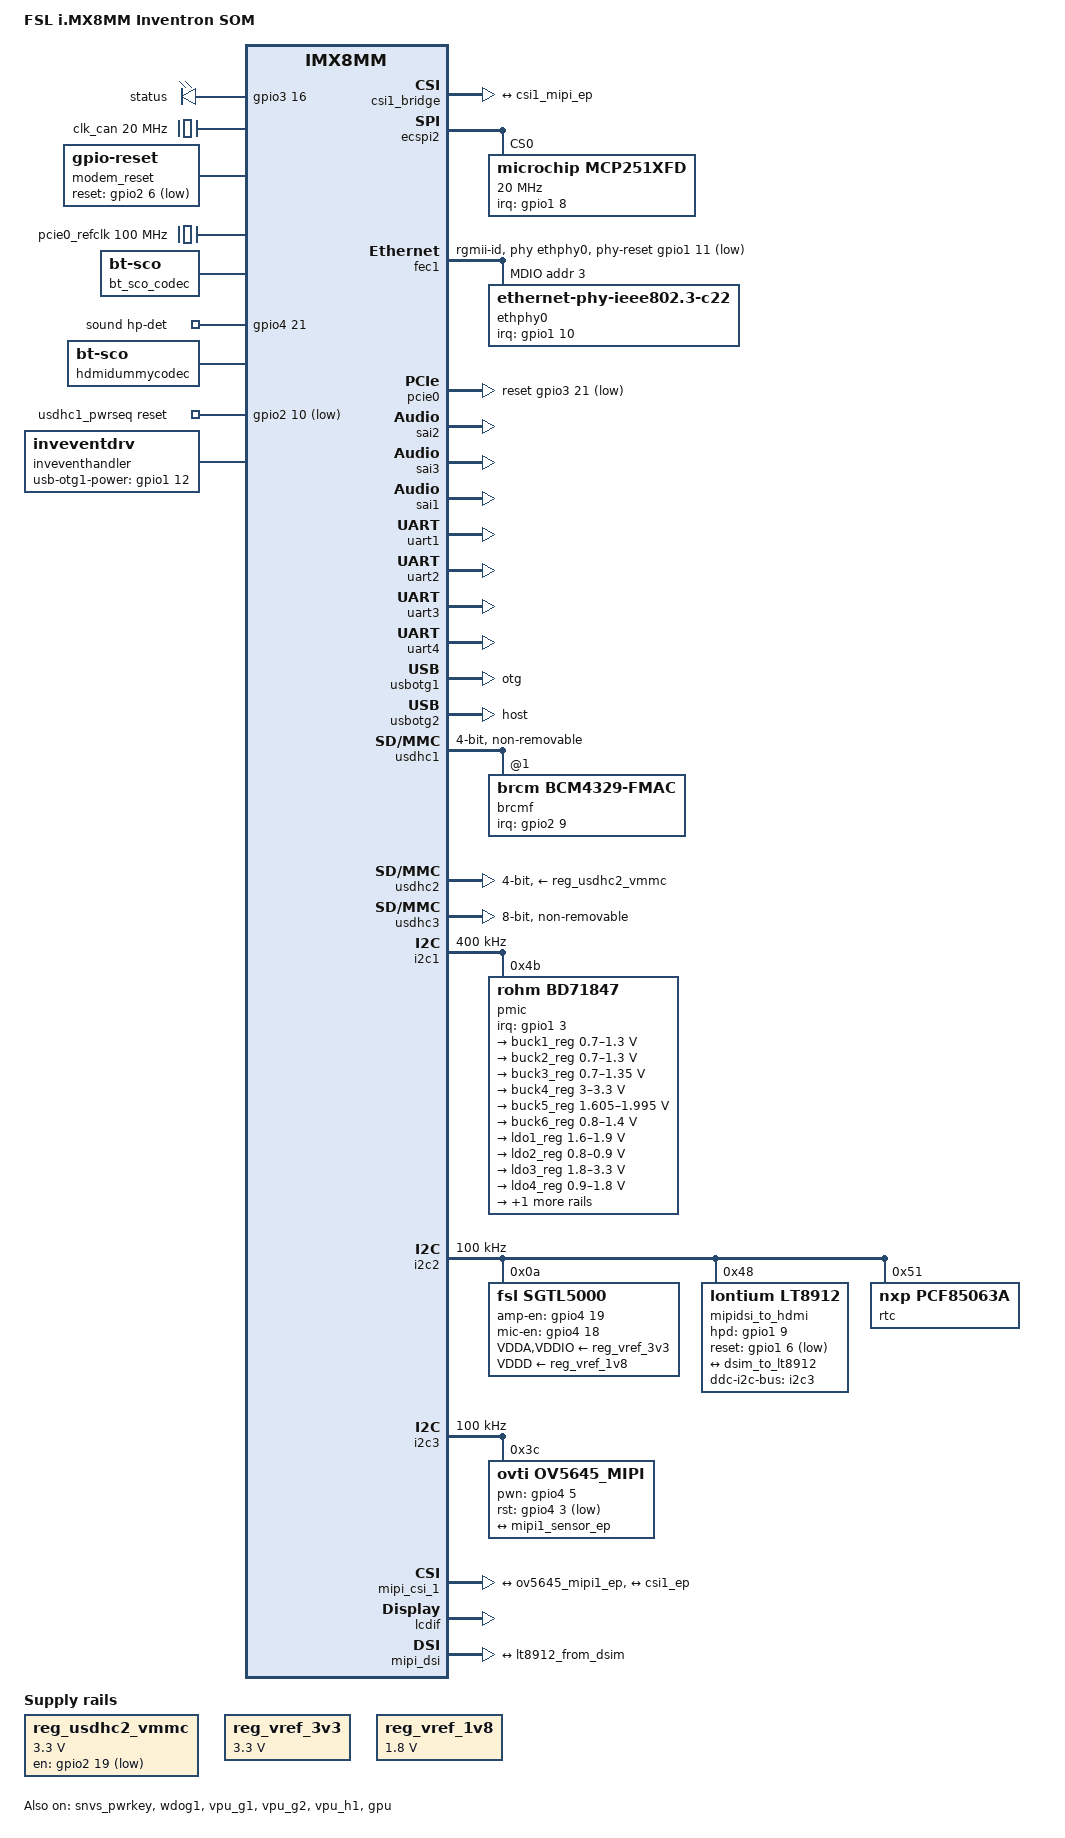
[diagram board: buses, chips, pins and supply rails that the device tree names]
// SPDX-License-Identifier: (GPL-2.0+ OR MIT)
/*
 * Copyright 2019 NXP
 */

/dts-v1/;

#include <dt-bindings/usb/pd.h>
#include "imx8mm-invsom.dtsi"

/ {
	model = "FSL i.MX8MM Inventron SOM";
	compatible = "fsl,imx8mm-invsom", "fsl,imx8mm";

	reserved-memory {
		#address-cells = <2>;
		#size-cells = <2>;
		ranges;

		rpmsg_reserved: rpmsg@0xb8000000 {
			no-map;
			reg = <0 0xb8000000 0 0x400000>;
		};
	};

	chosen {
		stdout-path = &uart4;
	};

	leds {
		compatible = "gpio-leds";
		pinctrl-names = "default";
		//pinctrl-0 = <&pinctrl_gpio_led &pinctrl_ccm2>; // daha sonra kullanılacak
		pinctrl-0 = <&pinctrl_gpio_led>;
		//clocks = <&clk IMX8MM_CLK_CLKO2>; // ccm2
		//clock-names = "enet_mclk";
		//assigned-clocks = <&clk IMX8MM_CLK_CLKO2>;
		//assigned-clock-parents = <&clk IMX8MM_CLK_24M>;
		//assigned-clock-rates = <12000000>;
		status = "okay";
		status {
			label = "status";
			gpios = <&gpio3 16 GPIO_ACTIVE_HIGH>;
			default-state = "on";
			linux,default-trigger = "heartbeat";
		};
	};

	clk_can: oscillator {
		compatible = "fixed-clock";
		#clock-cells = <0>;
		clock-frequency = <20000000>;
	};

	modem_reset: modem-reset { // bt_reg_on
		compatible = "gpio-reset";
		reset-gpios = <&gpio2 6 GPIO_ACTIVE_LOW>;
		reset-delay-us = <2000>;
		reset-post-delay-ms = <40>;
		#reset-cells = <0>;
	};

	pcie0_refclk: pcie0-refclk {
		compatible = "fixed-clock";
		#clock-cells = <0>;
		clock-frequency = <100000000>;
	};

	/*reg_sd1_vmmc: sd1_regulator {
		compatible = "regulator-fixed";
		regulator-name = "WLAN_EN";
		regulator-min-microvolt = <3300000>;
		regulator-max-microvolt = <3300000>;
		gpio = <&gpio2 10 GPIO_ACTIVE_HIGH>;
		off-on-delay-us = <20000>;
		startup-delay-us = <100>;
		enable-active-high;
	};*/

	reg_usdhc2_vmmc: regulator-usdhc2 {
		compatible = "regulator-fixed";
		pinctrl-names = "default";
		pinctrl-0 = <&pinctrl_reg_usdhc2_vmmc>;
		regulator-name = "VSD_3V3";
		regulator-min-microvolt = <3300000>;
		regulator-max-microvolt = <3300000>;
		gpio = <&gpio2 19 GPIO_ACTIVE_LOW>;
		off-on-delay-us = <20000>;
	};

	//reg_ext_3v3: regulator-external {
	//	compatible = "regulator-fixed";
	//	regulator-name = "EXT_ENABLE";
	//	regulator-min-microvolt = <3300000>;
	//	regulator-max-microvolt = <3300000>;
	//	enable-active-high;
	//	startup-delay-us = <3000000>;
	//	gpio = <&gpio4 14 GPIO_ACTIVE_HIGH>;
	//	enable-active-high;
	//};

	reg_vref_3v3: regulator-vref {
	  	compatible = "regulator-fixed";
	  	regulator-name = "vref-3v3";
	  	regulator-min-microvolt = <3300000>;
	  	regulator-max-microvolt = <3300000>;
	  	regulator-always-on;
	 	regulator-boot-on;		  
	};
	
	reg_vref_1v8: regulator-vref-1v8 { /* V1.8 */
		compatible = "regulator-fixed";
		regulator-name = "vref-1v8";
		regulator-min-microvolt = <1800000>;
		regulator-max-microvolt = <1800000>;
		regulator-always-on;
	  	regulator-boot-on;		  
	};

	bt_sco_codec: bt_sco_codec {
		#sound-dai-cells = <0>;
		compatible = "linux,bt-sco";
	};

	sound-bt-sco {
		compatible = "simple-audio-card";
		simple-audio-card,name = "bt-sco-audio";
		simple-audio-card,format = "i2s";
		simple-audio-card,bitclock-inversion;
		simple-audio-card,frame-master = <&btcpu>;
		simple-audio-card,bitclock-master = <&btcpu>;
		status = "okay";

		btcpu: simple-audio-card,cpu {
			sound-dai = <&sai3>;
			dai-tdm-slot-num = <2>;
			dai-tdm-slot-width = <16>;
		};

		simple-audio-card,codec {
			sound-dai = <&bt_sco_codec>;
		};
	};


    	sound {
        	compatible = "simple-audio-card";
        	simple-audio-card,name = "imx8mm-sgtl5000";
        	simple-audio-card,format = "i2s";
        	simple-audio-card,bitclock-master = <&dailink_master>;
        	simple-audio-card,frame-master = <&dailink_master>;
        	//simple-audio-card,mclk-fs = <1>;
        	simple-audio-card,hp-det-gpio = <&gpio4 21 GPIO_ACTIVE_HIGH>;

		simple-audio-card,widgets =
			"Microphone", "Microphone Jack",
			"Headphone", "Headphone Jack",
			"Speaker", "External Speaker";
		simple-audio-card,routing =
			"MIC_IN", "Microphone Jack",
			"Headphone Jack", "HP_OUT",
			"External Speaker", "LINE_OUT";

        	simple-audio-card,cpu {
                	sound-dai = <&sai1>;
        	};

        	dailink_master: simple-audio-card,codec {
            	sound-dai = <&sgtl5000>;
            	clocks = <&clk IMX8MM_CLK_SAI1>;
        	};   
    	};

	sound-i2s {
		compatible = "simple-audio-card";
		simple-audio-card,name = "i2s-hdmi-audio";
		simple-audio-card,format = "i2s";
		simple-audio-card,bitclock-master = <&dailinkhdmi_master>;
		simple-audio-card,frame-master = <&dailinkhdmi_master>;

		simple-audio-card,widgets =
	 		"Headphone", "Headphone Jack";
	 	simple-audio-card,routing =
	 		"Headphone Jack", "TX";

		dailinkhdmi_master: simple-audio-card,cpu {
			sound-dai = <&sai2>;
			dai-tdm-slot-num = <2>;
			dai-tdm-slot-width = <32>;
		};

		simple-audio-card,codec {
			sound-dai = <&hdmidummycodec>;
			clocks = <&clk IMX8MM_CLK_SAI2_ROOT>;
		};
	};

	hdmidummycodec: codec1 {
		#sound-dai-cells = <0>;
		compatible = "linux,bt-sco";
		status = "okay";
	};

	sound-micfil {
		compatible = "fsl,imx-audio-micfil";
		model = "imx-audio-micfil";
		cpu-dai = <&micfil>;
		status = "okay";
	};
	
	usdhc1_pwrseq: usdhc1_pwrseq {
		compatible = "mmc-pwrseq-simple";
		//compatible = "mmc-pwrseq-emmc";
		pinctrl-names = "default";
		pinctrl-0 = <&pinctrl_usdhc1_gpio>;
		reset-gpios = <&gpio2 10 GPIO_ACTIVE_LOW>;
	};
	
	inveventhandler {
		compatible = "inveventdrv";
		status = "okay";
		
		usb-otg1-power-gpio = <&gpio1 12 GPIO_ACTIVE_HIGH>;
	};	
};

&A53_0 {
	cpu-supply = <&buck2_reg>;
};

&csi1_bridge {
	fsl,mipi-mode;
	status = "okay";
	port {
		csi1_ep: endpoint {
			remote-endpoint = <&csi1_mipi_ep>;
		};
	};
};

&ecspi2 {
	pinctrl-names = "default";
	pinctrl-0 = <&pinctrl_ecspi2>;
	status = "okay";

	mcp251xfd: can@0 {
		compatible = "microchip,mcp251xfd";
		clocks = <&clk_can>;
		pinctrl-names = "default";
		pinctrl-0 = <&pinctrl_can_irq>;
		reg = <0>;
            	interrupts-extended = <&gpio1 8 IRQ_TYPE_LEVEL_LOW>;
		spi-max-frequency = <20000000>;
		status = "okay";
	};
};

&fec1 {
	pinctrl-names = "default", "sleep";
	pinctrl-0 = <&pinctrl_fec1>;
	pinctrl-1 = <&pinctrl_fec1_sleep>;
	phy-mode = "rgmii-id";
	phy-handle = <&ethphy0>;
	phy-reset-gpios = <&gpio1 11 GPIO_ACTIVE_LOW>;
	fsl,magic-packet;
	status = "okay";

	mdio {
		#address-cells = <1>;
		#size-cells = <0>;

		ethphy0: ethernet-phy@3 {
			compatible = "ethernet-phy-ieee802.3-c22";
			interrupt-parent = <&gpio1>;
			interrupts = <10 IRQ_TYPE_LEVEL_LOW>;
			micrel,led-mode = <0>;
			reg = <3>;
		};
	};
};

&pcie0{
	pinctrl-names = "default";
	pinctrl-0 = <&pinctrl_pcie0>;
	disable-gpio = <&gpio3 22 GPIO_ACTIVE_LOW>;
	reset-gpio = <&gpio3 21 GPIO_ACTIVE_LOW>;
	clkreq-gpio = <&gpio3 20 GPIO_ACTIVE_LOW>;
	clocks = <&clk IMX8MM_CLK_PCIE1_ROOT>,
		 <&clk IMX8MM_CLK_PCIE1_AUX>,
		 <&clk IMX8MM_CLK_PCIE1_PHY>,
		 <&pcie0_refclk>;
	clock-names = "pcie", "pcie_aux", "pcie_phy", "pcie_bus";
	ext_osc = <1>;
	reserved-region = <&rpmsg_reserved>;
	status = "okay";
};

&pcie0_ep{
	pinctrl-names = "default";
	pinctrl-0 = <&pinctrl_pcie0>;
	clocks = <&clk IMX8MM_CLK_PCIE1_ROOT>,
		 <&clk IMX8MM_CLK_PCIE1_AUX>,
		 <&clk IMX8MM_CLK_PCIE1_PHY>,
		 <&pcie0_refclk>;
	clock-names = "pcie", "pcie_aux", "pcie_phy", "pcie_bus";
	ext_osc = <1>;
	status = "disabled";
};

&pwm1 {
	pinctrl-names = "default";
	pinctrl-0 = <&pinctrl_pwm1>;
	status = "disabled";
};

&pwm2 {
	pinctrl-names = "default";
	pinctrl-0 = <&pinctrl_pwm2>;
	status = "disabled";
};

&pwm3 {
	pinctrl-names = "default";
	pinctrl-0 = <&pinctrl_pwm3>;
	status = "disabled";
};

&pwm4 {
	pinctrl-names = "default";
	pinctrl-0 = <&pinctrl_pwm4>;
	status = "disabled";
};

&sai2 { // HDMI Sound
	#sound-dai-cells = <0>;
	pinctrl-names = "default";
	pinctrl-0 = <&pinctrl_sai2>;
	assigned-clocks = <&clk IMX8MM_CLK_SAI2>;
	assigned-clock-parents = <&clk IMX8MM_AUDIO_PLL1_OUT>;
	assigned-clock-rates = <24576000>;
	status = "okay";
};

&sai3 { // BT Sound
	#sound-dai-cells = <0>;
	pinctrl-names = "default";
	pinctrl-0 = <&pinctrl_sai3>;
	assigned-clocks = <&clk IMX8MM_CLK_SAI3>;
	assigned-clock-parents = <&clk IMX8MM_AUDIO_PLL1_OUT>;
	assigned-clock-rates = <24576000>;
	status = "okay";
};

&sai1 { // SGTL5000
	#sound-dai-cells = <0>;
	pinctrl-names = "default";
	pinctrl-0 = <&pinctrl_sai1>;
	assigned-clocks = <&clk IMX8MM_CLK_SAI1>;
	assigned-clock-parents = <&clk IMX8MM_AUDIO_PLL1_OUT>;
	assigned-clock-rates = <24576000>;
	status = "okay";
};

&snvs_pwrkey {
	status = "okay";
};

&uart1 { /* BT */
	pinctrl-names = "default";
	pinctrl-0 = <&pinctrl_uart1>;
	assigned-clocks = <&clk IMX8MM_CLK_UART1>;
	assigned-clock-parents = <&clk IMX8MM_SYS_PLL1_80M>;
	fsl,uart-has-rtscts;
	resets = <&modem_reset>;
	status = "okay";
};

&uart2 { /* console - RS485 */
	pinctrl-names = "default";
	pinctrl-0 = <&pinctrl_uart2>;
	uart-has-rtscts;
	linux,rs485-enabled-at-boot-time;
	status = "okay";
};

&uart3 {
	pinctrl-names = "default";
	pinctrl-0 = <&pinctrl_uart3>;
	assigned-clocks = <&clk IMX8MM_CLK_UART3>;
	assigned-clock-parents = <&clk IMX8MM_SYS_PLL1_80M>;
	status = "okay";
};

&uart4 { /* console */
	pinctrl-names = "default";
	pinctrl-0 = <&pinctrl_uart4>;
	status = "okay";
};

&usbotg1 {
	dr_mode = "otg";
	hnp-disable;
	srp-disable;
	adp-disable;
	disable-over-current;
	status = "okay";
};

&usbotg2 {
	dr_mode = "host";
	disable-over-current;
	status = "okay";
};

&usdhc1 { 				// wifi/bt
	pinctrl-names = "default", "state_100mhz", "state_200mhz";
	pinctrl-0 = <&pinctrl_usdhc1>, <&pinctrl_wlan>;
	pinctrl-1 = <&pinctrl_usdhc1_100mhz>, <&pinctrl_wlan>;
	pinctrl-2 = <&pinctrl_usdhc1_200mhz>, <&pinctrl_wlan>;
	bus-width = <4>;
	//vmmc-supply = <&reg_sd1_vmmc>;
	no-1-8-v;
	pm-ignore-notify;
	keep-power-in-suspend;
	non-removable;
	//cap-power-off-card;
	/delete-property/ vmmc-supply;
	mmc-pwrseq = <&usdhc1_pwrseq>;
	wifi-host;
	status = "okay";
	brcmf: bcrmf@1 {
		reg = <1>;
		compatible = "brcm,bcm4329-fmac";
		interrupt-parent = <&gpio2>;
		interrupts = <9 IRQ_TYPE_LEVEL_HIGH>;
		interrupt-names = "host-wake";
	};	
};

&usdhc2 { 				// sd card
	pinctrl-names = "default", "state_100mhz", "state_200mhz";
	pinctrl-0 = <&pinctrl_usdhc2>;
	pinctrl-1 = <&pinctrl_usdhc2_100mhz>;
	pinctrl-2 = <&pinctrl_usdhc2_200mhz>;
	bus-width = <4>;
	vmmc-supply = <&reg_usdhc2_vmmc>;
	status = "okay";
};

&usdhc3 { 				// emmc
	pinctrl-names = "default", "state_100mhz", "state_200mhz";
	pinctrl-0 = <&pinctrl_usdhc3>;
	pinctrl-1 = <&pinctrl_usdhc3_100mhz>;
	pinctrl-2 = <&pinctrl_usdhc3_200mhz>;
	bus-width = <8>;
	non-removable;
	status = "okay";
};

&wdog1 {
	pinctrl-names = "default";
	pinctrl-0 = <&pinctrl_wdog>;
	fsl,ext-reset-output;
	status = "okay";
};

&flexspi {
	pinctrl-names = "default";
	pinctrl-0 = <&pinctrl_flexspi0>;
	status = "disabled";

	flash0: mt25qu256aba@0 {
		reg = <0>;
		#address-cells = <1>;
		#size-cells = <1>;
		compatible = "jedec,spi-nor";
		spi-max-frequency = <80000000>;
		spi-tx-bus-width = <4>;
		spi-rx-bus-width = <4>;
	};
};

&i2c1 {
	clock-frequency = <400000>;
	pinctrl-names = "default";
	pinctrl-0 = <&pinctrl_i2c1>;
	status = "okay";

	pmic@4b {
		compatible = "rohm,bd71847";
		reg = <0x4b>;
		pinctrl-0 = <&pinctrl_pmic>;
		interrupt-parent = <&gpio1>;
		interrupts = <3 GPIO_ACTIVE_LOW>;
		rohm,reset-snvs-powered;

		regulators {
			buck1_reg: BUCK1 {
				regulator-name = "BUCK1";
				regulator-min-microvolt = <700000>;
				regulator-max-microvolt = <1300000>;
				regulator-boot-on;
				regulator-always-on;
				regulator-ramp-delay = <1250>;
			};

			buck2_reg: BUCK2 {
				regulator-name = "BUCK2";
				regulator-min-microvolt = <700000>;
				regulator-max-microvolt = <1300000>;
				regulator-boot-on;
				regulator-always-on;
				regulator-ramp-delay = <1250>;
				rohm,dvs-run-voltage = <1000000>;
				rohm,dvs-idle-voltage = <900000>;
			};

			buck3_reg: BUCK3 {
				// BUCK5 in datasheet
				regulator-name = "BUCK3";
				regulator-min-microvolt = <700000>;
				regulator-max-microvolt = <1350000>;
				regulator-boot-on;
				regulator-always-on;
			};

			buck4_reg: BUCK4 {
				// BUCK6 in datasheet
				regulator-name = "BUCK4";
				regulator-min-microvolt = <3000000>;
				regulator-max-microvolt = <3300000>;
				regulator-boot-on;
				regulator-always-on;
			};

			buck5_reg: BUCK5 {
				// BUCK7 in datasheet
				regulator-name = "BUCK5";
				regulator-min-microvolt = <1605000>;
				regulator-max-microvolt = <1995000>;
				regulator-boot-on;
				regulator-always-on;
			};

			buck6_reg: BUCK6 {
				// BUCK8 in datasheet
				regulator-name = "BUCK6";
				regulator-min-microvolt = <800000>;
				regulator-max-microvolt = <1400000>;
				regulator-boot-on;
				regulator-always-on;
			};

			ldo1_reg: LDO1 {
				regulator-name = "LDO1";
				regulator-min-microvolt = <1600000>;
				regulator-max-microvolt = <1900000>;
				regulator-boot-on;
				regulator-always-on;
			};

			ldo2_reg: LDO2 {
				regulator-name = "LDO2";
				regulator-min-microvolt = <800000>;
				regulator-max-microvolt = <900000>;
				regulator-boot-on;
				regulator-always-on;
			};

			ldo3_reg: LDO3 {
				regulator-name = "LDO3";
				regulator-min-microvolt = <1800000>;
				regulator-max-microvolt = <3300000>;
				regulator-boot-on;
				regulator-always-on;
			};

			ldo4_reg: LDO4 {
				regulator-name = "LDO4";
				regulator-min-microvolt = <900000>;
				regulator-max-microvolt = <1800000>;
				regulator-boot-on;
				regulator-always-on;
			};

			ldo6_reg: LDO6 {
				regulator-name = "LDO6";
				regulator-min-microvolt = <900000>;
				regulator-max-microvolt = <1800000>;
				regulator-boot-on;
				regulator-always-on;
			};
		};
	};
};

&i2c2 {
	clock-frequency = <100000>;
	pinctrl-names = "default";
	pinctrl-0 = <&pinctrl_i2c2>;
	status = "okay";

	sgtl5000: codec@0a {
		compatible = "fsl,sgtl5000";
		pinctrl-names = "default";
		pinctrl-0 = <&pinctrl_amp_en &pinctrl_mic_en>;
		amp-en-gpio = <&gpio4 19 GPIO_ACTIVE_HIGH>;
		mic-en-gpio = <&gpio4 18 GPIO_ACTIVE_HIGH>;
		#sound-dai-cells = <0>;
		reg = <0x0a>;
        	clocks = <&clk IMX8MM_CLK_SAI1>;
        	clock-names = "mclk";
		assigned-clock-rates = <24576000>, <24576000>; 
		VDDA-supply = <&reg_vref_3v3>;
		VDDIO-supply = <&reg_vref_3v3>;
		VDDD-supply = <&reg_vref_1v8>;
		status = "okay";
	};

	mipidsi_to_hdmi: lt8912@48 {
		compatible = "lontium,lt8912";
		pinctrl-names = "default";
		pinctrl-0 = <&pinctrl_gpio_hpd &pinctrl_gpio_reset>;
		reg = <0x48>;
		ddc-i2c-bus = <&i2c3>;
		hpd-gpios = <&gpio1 9 GPIO_ACTIVE_HIGH>;
		reset-gpios = <&gpio1 6 GPIO_ACTIVE_LOW>;
		clocks = <&clk IMX8MM_CLK_CLKO1>;
		clock-names = "hdmi_clk";
		assigned-clocks = <&clk IMX8MM_CLK_CLKO1>;
		assigned-clock-parents = <&clk IMX8MM_SYS_PLL1_200M>;
		assigned-clock-rates = <25000000>;
		status = "okay";
		port {
			lt8912_from_dsim: endpoint {
				remote-endpoint = <&dsim_to_lt8912>;
			};
		};

		display-timings {
			native-mode = <&timing1>;

			timing0: timing0 {
				clock-frequency = <74250000>;
				hactive = <1280>;
				vactive = <720>;
				hfront-porch = <110>;
				hsync-len = <40>;
				hback-porch = <220>;
				vfront-porch = <5>;
				vsync-len = <5>;
				vback-porch = <20>;
				hsync-active = <0>;
				vsync-active = <0>;
				de-active = <0>;
				pixelclk-active = <0>;
				};

			timing1: timing1 {
				clock-frequency = <148500000>;
				hactive = <1920>;
				vactive = <1080>;
				hfront-porch = <88>;
				hsync-len = <44>;
				hback-porch = <148>;
				vfront-porch = <36>;
				vsync-len = <5>;
				vback-porch = <4>;
				hsync-active = <0>;
				vsync-active = <0>;
				de-active = <0>;
				pixelclk-active = <0>;
				};
		};
	};

	adc: tla2022@49 {
		compatible = "ti,tla2022";
		reg = <0x49>;
		status = "disabled";
	};

	rtc: pcf85063@51 {
		compatible = "nxp,pcf85063a";
		reg = <0x51>;
		quartz-load-femtofarads = <7000>;
		status = "okay";
	};
};

&i2c3 {
	clock-frequency = <100000>;
	pinctrl-names = "default";
	pinctrl-0 = <&pinctrl_i2c3>;
	status = "okay";

	ov5645_mipi: ov5645_mipi@3c {
		compatible = "ovti,ov5645_mipi";
		reg = <0x3c>;
		pinctrl-names = "default";
		pinctrl-0 = <&pinctrl_csi_pwn>, <&pinctrl_csi_rst>;
		csi_id = <0>;
		pwn-gpios = <&gpio4 5 GPIO_ACTIVE_HIGH>;
		rst-gpios = <&gpio4 3 GPIO_ACTIVE_LOW>;
		mclk = <24000000>;
		mclk_source = <0>;
		ae_target = <52>;
		status = "okay";		
		port {
			ov5645_mipi1_ep: endpoint {
				remote-endpoint = <&mipi1_sensor_ep>;
			};
		};
	};
};

&iomuxc {
	pinctrl-names = "default";
	pinctrl-0 = <&pinctrl_hog_1>;

	pinctrl_hog_1: hoggrp-1 {
		fsl,pins = <
			//MX8MM_IOMUXC_ECSPI2_SS0_GPIO5_IO13	   0x184
			MX8MM_IOMUXC_GPIO1_IO12_GPIO1_IO12	   0x184
			MX8MM_IOMUXC_SAI2_RXFS_GPIO4_IO21	   0x00000016
		>;
	};
	
	pinctrl_gpio_hpd: gpio-hpd {
		fsl,pins = <
			MX8MM_IOMUXC_GPIO1_IO09_GPIO1_IO9		0x184
		>;
	};

	pinctrl_gpio_reset: gpio-rst {
		fsl,pins = <
			MX8MM_IOMUXC_GPIO1_IO06_GPIO1_IO6		0x20
		>;
	};

	pinctrl_csi_pwn: csipwn_grp {
		fsl,pins = <
			MX8MM_IOMUXC_SAI1_RXD3_GPIO4_IO5		0x19 // camera pwdn
		>;
	};

	pinctrl_csi_rst: csirst_grp {
		fsl,pins = <
			MX8MM_IOMUXC_SAI1_RXD1_GPIO4_IO3		0x19 // camera rst
		>;
	};

	pinctrl_fec1: fec1grp {
		fsl,pins = <
			MX8MM_IOMUXC_ENET_MDC_ENET1_MDC			0x3
			MX8MM_IOMUXC_ENET_MDIO_ENET1_MDIO		0x3
			MX8MM_IOMUXC_ENET_TD3_ENET1_RGMII_TD3		0x1f
			MX8MM_IOMUXC_ENET_TD2_ENET1_RGMII_TD2		0x1f
			MX8MM_IOMUXC_ENET_TD1_ENET1_RGMII_TD1		0x1f
			MX8MM_IOMUXC_ENET_TD0_ENET1_RGMII_TD0		0x1f
			MX8MM_IOMUXC_ENET_RD3_ENET1_RGMII_RD3		0x91
			MX8MM_IOMUXC_ENET_RD2_ENET1_RGMII_RD2		0x91
			MX8MM_IOMUXC_ENET_RD1_ENET1_RGMII_RD1		0x91
			MX8MM_IOMUXC_ENET_RD0_ENET1_RGMII_RD0		0x91
			MX8MM_IOMUXC_ENET_TXC_ENET1_RGMII_TXC		0x7 // 0x1f
			MX8MM_IOMUXC_ENET_RXC_ENET1_RGMII_RXC		0x91
			MX8MM_IOMUXC_ENET_RX_CTL_ENET1_RGMII_RX_CTL	0x91
			MX8MM_IOMUXC_ENET_TX_CTL_ENET1_RGMII_TX_CTL	0x1f
			MX8MM_IOMUXC_GPIO1_IO10_GPIO1_IO10 		0x1c4 // ethernet interrupt
			MX8MM_IOMUXC_GPIO1_IO11_GPIO1_IO11         	0x19 // ENET_nRST
		>;
	};
	
	pinctrl_fec1_sleep: fec1-sleepgrp {
		fsl,pins = <
			MX8MM_IOMUXC_ENET_MDC_ENET1_MDC			0x3
			MX8MM_IOMUXC_ENET_MDIO_ENET1_MDIO		0x3
			MX8MM_IOMUXC_ENET_TD3_GPIO1_IO18		0x1f
			MX8MM_IOMUXC_ENET_TD2_GPIO1_IO19		0x1f
			MX8MM_IOMUXC_ENET_TD1_GPIO1_IO20		0x1f
			MX8MM_IOMUXC_ENET_TD0_GPIO1_IO21		0x1f
			MX8MM_IOMUXC_ENET_RD3_ENET1_RGMII_RD3		0x91
			MX8MM_IOMUXC_ENET_RD2_ENET1_RGMII_RD2		0x91
			MX8MM_IOMUXC_ENET_RD1_ENET1_RGMII_RD1		0x91
			MX8MM_IOMUXC_ENET_RD0_ENET1_RGMII_RD0		0x91
			MX8MM_IOMUXC_ENET_TXC_GPIO1_IO23		0x1f
			MX8MM_IOMUXC_ENET_RXC_ENET1_RGMII_RXC		0x91
			MX8MM_IOMUXC_ENET_RX_CTL_ENET1_RGMII_RX_CTL	0x91
			MX8MM_IOMUXC_ENET_TX_CTL_GPIO1_IO22		0x1f
			MX8MM_IOMUXC_GPIO1_IO10_GPIO1_IO10		0x184
			MX8MM_IOMUXC_GPIO1_IO11_GPIO1_IO11         	0x19 // ENET_nRST
		>;
	};

	pinctrl_flexspi0: flexspi0grp {
		fsl,pins = <
			MX8MM_IOMUXC_NAND_ALE_QSPI_A_SCLK               0x1c2
			MX8MM_IOMUXC_NAND_CE0_B_QSPI_A_SS0_B            0x82
			MX8MM_IOMUXC_NAND_DATA00_QSPI_A_DATA0           0x82
			MX8MM_IOMUXC_NAND_DATA01_QSPI_A_DATA1           0x82
			MX8MM_IOMUXC_NAND_DATA02_QSPI_A_DATA2           0x82
			MX8MM_IOMUXC_NAND_DATA03_QSPI_A_DATA3           0x82
		>;
	};

	pinctrl_gpio_led: gpioledgrp {
		fsl,pins = <
			MX8MM_IOMUXC_NAND_READY_B_GPIO3_IO16	0x19
		>;
	};

	pinctrl_i2c1: i2c1grp {
		fsl,pins = <
			MX8MM_IOMUXC_I2C1_SCL_I2C1_SCL			0x400001c3
			MX8MM_IOMUXC_I2C1_SDA_I2C1_SDA			0x400001c3
		>;
	};

	pinctrl_i2c2: i2c2grp {
		fsl,pins = <
			MX8MM_IOMUXC_I2C2_SCL_I2C2_SCL			0x400001c3
			MX8MM_IOMUXC_I2C2_SDA_I2C2_SDA			0x400001c3
		>;
	};

	pinctrl_i2c3: i2c3grp {
		fsl,pins = <
			MX8MM_IOMUXC_I2C3_SCL_I2C3_SCL			0x400001c3
			MX8MM_IOMUXC_I2C3_SDA_I2C3_SDA			0x400001c3
		>;
	};

	pinctrl_i2c3_gpio: i2c3gpiogrp {
		fsl,pins = <
			MX8MM_IOMUXC_I2C3_SCL_GPIO5_IO18		0x400001c6	/* SODIMM 95 */
			MX8MM_IOMUXC_I2C3_SDA_GPIO5_IO19		0x400001c6	/* SODIMM 93 */
		>;
	};

	pinctrl_pcie0: pcie0grp {
		fsl,pins = <
			MX8MM_IOMUXC_SAI5_RXC_GPIO3_IO20	0x41 /* open drain, pull up */ // CLKREQ
			MX8MM_IOMUXC_SAI5_RXD1_GPIO3_IO22	0x41  // W_DISABLE
			MX8MM_IOMUXC_SAI5_RXD0_GPIO3_IO21	0x41  // PERST0
		>;
	};

	pinctrl_pmic: pmicirq {
		fsl,pins = <
			MX8MM_IOMUXC_GPIO1_IO03_GPIO1_IO3		0x41
		>;
	};

	pinctrl_reg_usdhc2_vmmc: regusdhc2vmmc {
		fsl,pins = <
			MX8MM_IOMUXC_SD2_RESET_B_GPIO2_IO19	0x41
		>;
	};

	pinctrl_sai2: sai2grp { // lt8912 hdmi sound
		fsl,pins = <
			MX8MM_IOMUXC_SAI2_TXC_SAI2_TX_BCLK      0xd6
			MX8MM_IOMUXC_SAI2_TXFS_SAI2_TX_SYNC     0xd6
			MX8MM_IOMUXC_SAI2_TXD0_SAI2_TX_DATA0    0xd6
		>;
	};

	pinctrl_sai3: sai3grp { // evk'da audio dac,bizim boardda onboard wifi.Dönüştürüldü.
		fsl,pins = <
			MX8MM_IOMUXC_SAI3_TXFS_SAI3_TX_SYNC     0xd6
			MX8MM_IOMUXC_SAI3_TXC_SAI3_TX_BCLK      0xd6
			MX8MM_IOMUXC_SAI3_TXD_SAI3_TX_DATA0     0xd6
			MX8MM_IOMUXC_SAI3_RXD_SAI3_RX_DATA0     0xd6
		>;
	};

	pinctrl_sai1: sai1grp {
		fsl,pins = <
			MX8MM_IOMUXC_SAI1_MCLK_SAI1_MCLK	0xc4
			MX8MM_IOMUXC_SAI1_TXFS_SAI1_TX_SYNC	0xd6
			MX8MM_IOMUXC_SAI1_TXC_SAI1_TX_BCLK	0xd6
			MX8MM_IOMUXC_SAI1_TXD0_SAI1_TX_DATA0	0xd6
			MX8MM_IOMUXC_SAI1_RXD0_SAI1_RX_DATA0	0xd6
		>;
	};

	pinctrl_amp_en: amp_engrp {
		fsl,pins = <
			MX8MM_IOMUXC_SAI1_TXD7_GPIO4_IO19     0x19 // AMP_EN
		>;
	};

	pinctrl_mic_en: mic_engrp {
		fsl,pins = <
			MX8MM_IOMUXC_SAI1_TXD6_GPIO4_IO18     0x19 // AMP_EN
		>;
	};

	pinctrl_pwm1: pwm1grp {
		fsl,pins = <
			MX8MM_IOMUXC_SPDIF_EXT_CLK_PWM1_OUT     0xd6
		>;
	};

	pinctrl_pwm2: pwm2grp {
		fsl,pins = <
			MX8MM_IOMUXC_SPDIF_RX_PWM2_OUT     	0xd6
		>;
	};

	pinctrl_pwm3: pwm3grp {
		fsl,pins = <
			MX8MM_IOMUXC_SPDIF_TX_PWM3_OUT     	0xd6
			
		>;
	};

	pinctrl_pwm4: pwm4grp {
		fsl,pins = <
			MX8MM_IOMUXC_SAI3_MCLK_PWM4_OUT     	0xd6
		>;
	};

	pinctrl_uart1: uart1grp {
		fsl,pins = <
			MX8MM_IOMUXC_UART1_RXD_UART1_DCE_RX	0x140
			MX8MM_IOMUXC_UART1_TXD_UART1_DCE_TX	0x140
			MX8MM_IOMUXC_UART3_RXD_UART1_DCE_CTS_B	0x140
			MX8MM_IOMUXC_UART3_TXD_UART1_DCE_RTS_B	0x140
			MX8MM_IOMUXC_SD1_DATA4_GPIO2_IO6	0x19
		>;
	};

	pinctrl_uart2: uart2grp {
		fsl,pins = <
			MX8MM_IOMUXC_UART2_RXD_UART2_DCE_RX	0x140
			MX8MM_IOMUXC_UART2_TXD_UART2_DCE_TX	0x140
			MX8MM_IOMUXC_SAI3_RXC_UART2_DCE_CTS_B	0x140
		>;
	};

	pinctrl_uart3: uart3grp { // konnektörlere gidiyor,spi olarak dışarı.
		fsl,pins = <
			MX8MM_IOMUXC_ECSPI1_SCLK_UART3_DCE_RX		0x140
			MX8MM_IOMUXC_ECSPI1_MOSI_UART3_DCE_TX		0x140
			//MX8MM_IOMUXC_ECSPI1_SS0_UART3_DCE_RTS_B		0x140
			//MX8MM_IOMUXC_ECSPI1_MISO_UART3_DCE_CTS_B	0x140
		>;
	};

	pinctrl_uart4: uart4grp {
		fsl,pins = <
			MX8MM_IOMUXC_UART4_RXD_UART4_DCE_RX	0x140
			MX8MM_IOMUXC_UART4_TXD_UART4_DCE_TX	0x140
		>;
	};

	pinctrl_can_irq: cangrp {  // can interrupt
		fsl,pins = <
			MX8MM_IOMUXC_GPIO1_IO08_GPIO1_IO8	   0x1c4
		>;
	};

	pinctrl_ecspi2: ecspi2grp { // CAN
		fsl,pins = <
		        MX8MM_IOMUXC_ECSPI2_MISO_ECSPI2_MISO       0x140
		        MX8MM_IOMUXC_ECSPI2_MOSI_ECSPI2_MOSI       0x140
		        MX8MM_IOMUXC_ECSPI2_SCLK_ECSPI2_SCLK       0x140
		        MX8MM_IOMUXC_ECSPI2_SS0_ECSPI2_SS0	   0x140
		>;
	};

	pinctrl_ccm1: ccm1grp { // clockoutput
		fsl,pins = <
			MX8MM_IOMUXC_GPIO1_IO14_CCMSRCGPCMIX_CLKO1	0x1c4
		>;
	};

	pinctrl_ccm2: ccm2grp {
		fsl,pins = <
			MX8MM_IOMUXC_GPIO1_IO15_CCMSRCGPCMIX_CLKO2	0x1c4
		>;
	};

	pinctrl_usdhc1_gpio: usdhc1grpgpio {
		fsl,pins = <
			MX8MM_IOMUXC_SD1_RESET_B_GPIO2_IO10	0x41 //wlregon
		>;
	};
	
	pinctrl_wlan: wlangrp {
		fsl,pins = <
			MX8MM_IOMUXC_GPIO1_IO00_ANAMIX_REF_CLK_32K	0x141
			MX8MM_IOMUXC_SD1_DATA7_GPIO2_IO9		0x111		//wl wake host	
		>;
	};	

	pinctrl_usdhc1: usdhc1grp {
		fsl,pins = <
			MX8MM_IOMUXC_SD1_CLK_USDHC1_CLK		0x190
			MX8MM_IOMUXC_SD1_CMD_USDHC1_CMD		0x1d0
			MX8MM_IOMUXC_SD1_DATA0_USDHC1_DATA0	0x1d0
			MX8MM_IOMUXC_SD1_DATA1_USDHC1_DATA1	0x1d0
			MX8MM_IOMUXC_SD1_DATA2_USDHC1_DATA2	0x1d0
			MX8MM_IOMUXC_SD1_DATA3_USDHC1_DATA3	0x1d0
		>;
	};

	pinctrl_usdhc1_100mhz: usdhc1grp100mhz {
		fsl,pins = <
			MX8MM_IOMUXC_SD1_CLK_USDHC1_CLK		0x194
			MX8MM_IOMUXC_SD1_CMD_USDHC1_CMD		0x1d4
			MX8MM_IOMUXC_SD1_DATA0_USDHC1_DATA0	0x1d4
			MX8MM_IOMUXC_SD1_DATA1_USDHC1_DATA1	0x1d4
			MX8MM_IOMUXC_SD1_DATA2_USDHC1_DATA2	0x1d4
			MX8MM_IOMUXC_SD1_DATA3_USDHC1_DATA3	0x1d4
		>;
	};

	pinctrl_usdhc1_200mhz: usdhc1grp200mhz {
		fsl,pins = <
			MX8MM_IOMUXC_SD1_CLK_USDHC1_CLK		0x196
			MX8MM_IOMUXC_SD1_CMD_USDHC1_CMD		0x1d6
			MX8MM_IOMUXC_SD1_DATA0_USDHC1_DATA0	0x1d6
			MX8MM_IOMUXC_SD1_DATA1_USDHC1_DATA1	0x1d6
			MX8MM_IOMUXC_SD1_DATA2_USDHC1_DATA2	0x1d6
			MX8MM_IOMUXC_SD1_DATA3_USDHC1_DATA3	0x1d6
		>;
	};

	pinctrl_usdhc2: usdhc2grp {
		fsl,pins = <
			MX8MM_IOMUXC_SD2_CD_B_USDHC2_CD_B	0x1c4
			MX8MM_IOMUXC_SD2_CLK_USDHC2_CLK		0x190
			MX8MM_IOMUXC_SD2_CMD_USDHC2_CMD		0x1d0
			MX8MM_IOMUXC_SD2_DATA0_USDHC2_DATA0	0x1d0
			MX8MM_IOMUXC_SD2_DATA1_USDHC2_DATA1	0x1d0
			MX8MM_IOMUXC_SD2_DATA2_USDHC2_DATA2	0x1d0
			MX8MM_IOMUXC_SD2_DATA3_USDHC2_DATA3	0x1d0
			MX8MM_IOMUXC_GPIO1_IO04_USDHC2_VSELECT	0x1d0
		>;
	};

	pinctrl_usdhc2_100mhz: usdhc2grp100mhz {
		fsl,pins = <
			MX8MM_IOMUXC_SD2_CD_B_USDHC2_CD_B	0x1c4
			MX8MM_IOMUXC_SD2_CLK_USDHC2_CLK		0x194
			MX8MM_IOMUXC_SD2_CMD_USDHC2_CMD		0x1d4
			MX8MM_IOMUXC_SD2_DATA0_USDHC2_DATA0	0x1d4
			MX8MM_IOMUXC_SD2_DATA1_USDHC2_DATA1	0x1d4
			MX8MM_IOMUXC_SD2_DATA2_USDHC2_DATA2	0x1d4
			MX8MM_IOMUXC_SD2_DATA3_USDHC2_DATA3	0x1d4
			MX8MM_IOMUXC_GPIO1_IO04_USDHC2_VSELECT	0x1d0
		>;
	};

	pinctrl_usdhc2_200mhz: usdhc2grp200mhz {
		fsl,pins = <
			MX8MM_IOMUXC_SD2_CD_B_USDHC2_CD_B	0x1c4
			MX8MM_IOMUXC_SD2_CLK_USDHC2_CLK		0x196
			MX8MM_IOMUXC_SD2_CMD_USDHC2_CMD		0x1d6
			MX8MM_IOMUXC_SD2_DATA0_USDHC2_DATA0	0x1d6
			MX8MM_IOMUXC_SD2_DATA1_USDHC2_DATA1	0x1d6
			MX8MM_IOMUXC_SD2_DATA2_USDHC2_DATA2	0x1d6
			MX8MM_IOMUXC_SD2_DATA3_USDHC2_DATA3	0x1d6
			MX8MM_IOMUXC_GPIO1_IO04_USDHC2_VSELECT	0x1d0
		>;
	};

	pinctrl_usdhc3: usdhc3grp {
		fsl,pins = <
			MX8MM_IOMUXC_NAND_WE_B_USDHC3_CLK		0x190
			MX8MM_IOMUXC_NAND_WP_B_USDHC3_CMD		0x1d0
			MX8MM_IOMUXC_NAND_DATA04_USDHC3_DATA0		0x1d0
			MX8MM_IOMUXC_NAND_DATA05_USDHC3_DATA1		0x1d0
			MX8MM_IOMUXC_NAND_DATA06_USDHC3_DATA2		0x1d0
			MX8MM_IOMUXC_NAND_DATA07_USDHC3_DATA3		0x1d0
			MX8MM_IOMUXC_NAND_RE_B_USDHC3_DATA4		0x1d0
			MX8MM_IOMUXC_NAND_CE2_B_USDHC3_DATA5		0x1d0
			MX8MM_IOMUXC_NAND_CE3_B_USDHC3_DATA6		0x1d0
			MX8MM_IOMUXC_NAND_CLE_USDHC3_DATA7		0x1d0
			MX8MM_IOMUXC_NAND_CE1_B_USDHC3_STROBE 		0x190
		>;
	};

	pinctrl_usdhc3_100mhz: usdhc3grp100mhz {
		fsl,pins = <
			MX8MM_IOMUXC_NAND_WE_B_USDHC3_CLK		0x194
			MX8MM_IOMUXC_NAND_WP_B_USDHC3_CMD		0x1d4
			MX8MM_IOMUXC_NAND_DATA04_USDHC3_DATA0		0x1d4
			MX8MM_IOMUXC_NAND_DATA05_USDHC3_DATA1		0x1d4
			MX8MM_IOMUXC_NAND_DATA06_USDHC3_DATA2		0x1d4
			MX8MM_IOMUXC_NAND_DATA07_USDHC3_DATA3		0x1d4
			MX8MM_IOMUXC_NAND_RE_B_USDHC3_DATA4		0x1d4
			MX8MM_IOMUXC_NAND_CE2_B_USDHC3_DATA5		0x1d4
			MX8MM_IOMUXC_NAND_CE3_B_USDHC3_DATA6		0x1d4
			MX8MM_IOMUXC_NAND_CLE_USDHC3_DATA7		0x1d4
			MX8MM_IOMUXC_NAND_CE1_B_USDHC3_STROBE 		0x194
		>;
	};

	pinctrl_usdhc3_200mhz: usdhc3grp200mhz {
		fsl,pins = <
			MX8MM_IOMUXC_NAND_WE_B_USDHC3_CLK		0x196
			MX8MM_IOMUXC_NAND_WP_B_USDHC3_CMD		0x1d6
			MX8MM_IOMUXC_NAND_DATA04_USDHC3_DATA0		0x1d6
			MX8MM_IOMUXC_NAND_DATA05_USDHC3_DATA1		0x1d6
			MX8MM_IOMUXC_NAND_DATA06_USDHC3_DATA2		0x1d6
			MX8MM_IOMUXC_NAND_DATA07_USDHC3_DATA3		0x1d6
			MX8MM_IOMUXC_NAND_RE_B_USDHC3_DATA4		0x1d6
			MX8MM_IOMUXC_NAND_CE2_B_USDHC3_DATA5		0x1d6
			MX8MM_IOMUXC_NAND_CE3_B_USDHC3_DATA6		0x1d6
			MX8MM_IOMUXC_NAND_CLE_USDHC3_DATA7		0x1d6
			MX8MM_IOMUXC_NAND_CE1_B_USDHC3_STROBE 		0x196
		>;
	};

	pinctrl_wdog: wdoggrp {
		fsl,pins = <
			MX8MM_IOMUXC_GPIO1_IO02_WDOG1_WDOG_B	0xc6
		>;
	};
};

&mipi_csi_1 {
	#address-cells = <1>;
	#size-cells = <0>;
	status = "okay";
	port {
		mipi1_sensor_ep: endpoint@1 {
			remote-endpoint = <&ov5645_mipi1_ep>;
			data-lanes = <2>;
			csis-hs-settle = <13>;
			csis-clk-settle = <2>;
			csis-wclk;
		};

		csi1_mipi_ep: endpoint@2 {
			remote-endpoint = <&csi1_ep>;
		};
	};
};

&lcdif {
	status = "okay";
};

&mipi_dsi {
	status = "okay";

	port@1 {
		dsim_to_lt8912: endpoint {
			remote-endpoint = <&lt8912_from_dsim>;
			attach-bridge;
		};
	};
};

&vpu_g1 {
	status = "okay";
};

&vpu_g2 {
	status = "okay";
};

&vpu_h1 {
	status = "okay";
};

&gpu {
	status = "okay";
};
